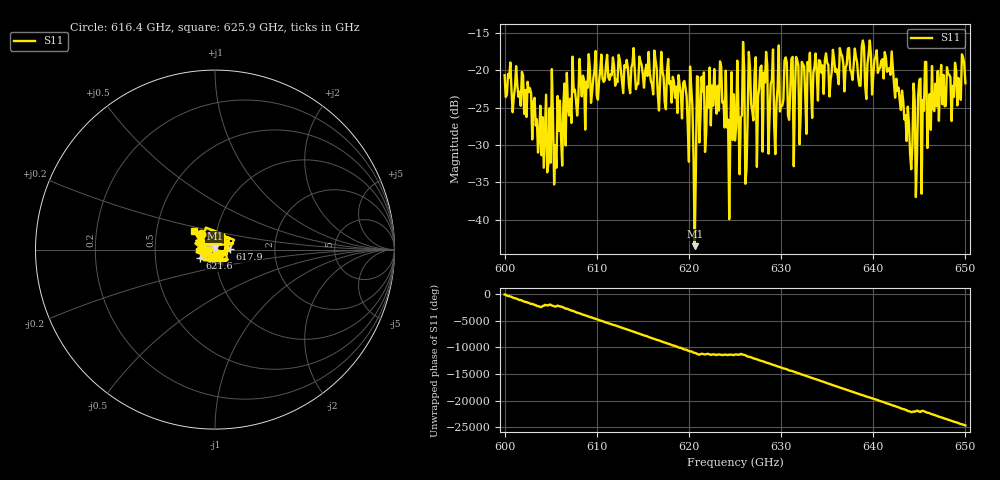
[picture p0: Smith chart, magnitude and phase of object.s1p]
!Created with skrf (http://scikit-rf.org).
# GHz S MA R 50.0
!freq magS11 angS11
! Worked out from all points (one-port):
!   401 points, 600 GHz to 650 GHz, reference 50 ohm
!   lowest |S11| = -43.6 dB at 620.6 GHz (marker M1), VSWR 1.01, Z = 49.8 + j0.634 ohm
!   |S11| at or under -10 dB: start of sweep to end of sweep
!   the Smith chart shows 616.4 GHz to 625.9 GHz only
!   S11 on the Smith chart (normalised r, x): 616.4 GHz: 0.84, +0.14; 617.9 GHz: 1.18, +0.00; 621.6 GHz: 0.84, -0.08; 625.9 GHz: 0.78, +0.16
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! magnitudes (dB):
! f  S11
! 600 GHz  -20.7
! 602.6 GHz  -22.9
! 604.5 GHz  -23.3
! 606.2 GHz  -32.8
! 608.4 GHz  -23.5
! 612.5 GHz  -18.6
! 616.4 GHz  -18.6
! 617.9 GHz  -21.8
! 618.8 GHz  -25.7
! 620.1 GHz  -19.5
! 620.6 GHz  -43.6
! 620.9 GHz  -20.8
! 621.1 GHz  -29.7
! 621.6 GHz  -20.3
! 623.4 GHz  -18.8
! 624.5 GHz  -27.6
! 625 GHz  -29.4
! 625.9 GHz  -16.2
! 626.4 GHz  -26.2
! 626.6 GHz  -19.7
! 628.2 GHz  -21.6
! 629.4 GHz  -31.2
! 630.4 GHz  -18.7
! 631.2 GHz  -18.2
! 637.5 GHz  -19.9
! 641.9 GHz  -20.6
! 643.8 GHz  -24.9
! 650 GHz  -21.7
